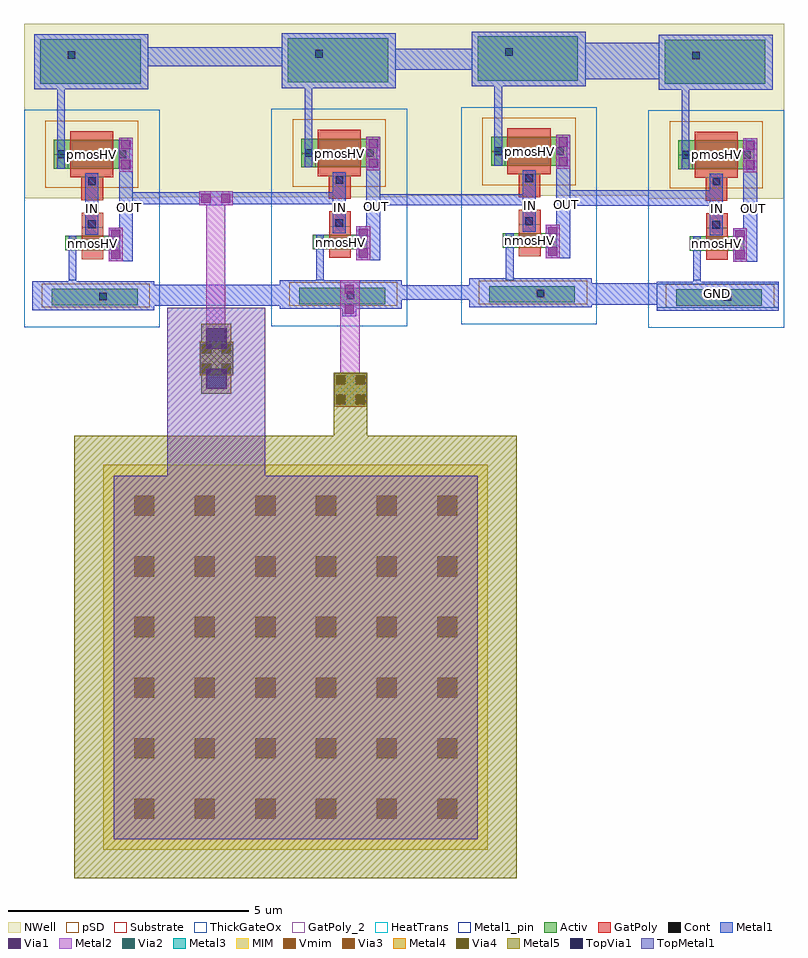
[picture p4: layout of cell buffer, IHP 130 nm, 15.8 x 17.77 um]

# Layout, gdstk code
import gdstk
lib = gdstk.Library(unit=1e-6, precision=1e-09)
def R(c, l, rs):  # rectangles x0, y0, x1, y1
    for r in rs: c.add(gdstk.rectangle(r[:2], r[2:], *l))
def A(c, l, x, y, w, h, nx, ny, dx, dy):  # array of equal rectangles
    R(c, l, [(x+i*dx, y+j*dy, x+i*dx+w, y+j*dy+h) for i in range(nx) for j in range(ny)])
def P(c, l, *ps):  # polygons
    for p in ps: c.add(gdstk.Polygon(p, *l))
Activ = (1, 0)
GatPoly = (5, 0)
GatPoly_2 = (5, 2)
Cont = (6, 0)
Metal1 = (8, 0)
Metal1_pin = (8, 2)
Metal2 = (10, 0)
pSD = (14, 0)
Via1 = (19, 0)
Via2 = (29, 0)
Metal3 = (30, 0)
NWell = (31, 0)
MIM = (36, 0)
Substrate = (40, 0)
ThickGateOx = (44, 0)
Via3 = (49, 0)
Metal4 = (50, 0)
HeatTrans = (51, 0)
Via4 = (66, 0)
Metal5 = (67, 0)
TopVia1 = (125, 0)
TopMetal1 = (126, 0)
Vmim = (129, 0)

buffer = lib.new_cell('buffer')
R(buffer, Activ, [(255.73,415.32,257.51,415.66), (242.75,415.33,244.53,415.67), (247.895,415.355,249.675,415.695), (251.84,415.39,253.62,415.73), (256.01,416.46,256.31,416.76), (256.01,416.46,257.14,416.76), (256.84,416.46,257.14,416.76), (243.03,416.47,243.33,416.77), (243.03,416.47,244.16,416.77), (243.86,416.47,244.16,416.77), (248.175,416.495,248.475,416.795), (248.175,416.495,249.305,416.795), (249.005,416.495,249.305,416.795), (252.12,416.53,252.42,416.83), (252.12,416.53,253.25,416.83), (252.95,416.53,253.25,416.83), (255.77,418.16,256.07,418.46), (255.77,418.16,257.35,418.76), (257.05,418.16,257.35,418.46), (242.79,418.17,243.09,418.47), (242.79,418.17,244.37,418.77), (244.07,418.17,244.37,418.47), (247.935,418.195,248.235,418.495), (247.935,418.195,249.515,418.795), (249.215,418.195,249.515,418.495), (251.88,418.23,252.18,418.53), (251.88,418.23,253.46,418.83), (253.16,418.23,253.46,418.53), (255.49,419.93,257.575,420.85), (242.51,419.94,244.595,420.86), (247.655,419.965,249.74,420.885), (251.6,420,253.685,420.92)])
R(buffer, GatPoly, [(256.35,416.28,256.8,416.94), (243.37,416.29,243.82,416.95), (248.515,416.315,248.965,416.975), (252.46,416.35,252.91,417.01), (256.35,416.94,256.8,417.245), (243.37,416.95,243.82,417.255), (248.515,416.975,248.965,417.28), (252.46,417.01,252.91,417.315), (256.345,417.505,256.795,418.035), (243.365,417.515,243.815,418.045), (248.51,417.54,248.96,418.07), (252.455,417.575,252.905,418.105), (256.395,417.665,256.755,417.98), (243.415,417.675,243.775,417.99), (248.56,417.7,248.92,418.015), (252.505,417.735,252.865,418.05), (256.11,417.98,257.01,418.94), (243.13,417.99,244.03,418.95), (248.275,418.015,249.175,418.975), (252.22,418.05,253.12,419.01)])
R(buffer, GatPoly_2, [(256.35,416.28,256.8,416.94), (243.37,416.29,243.82,416.95), (248.515,416.315,248.965,416.975), (252.46,416.35,252.91,417.01), (256.11,417.98,257.01,418.94), (243.13,417.99,244.03,418.95), (248.275,418.015,249.175,418.975), (252.22,418.05,253.12,419.01)])
R(buffer, Cont, [(256.715,415.425,256.875,415.585), (243.735,415.435,243.895,415.595), (248.88,415.46,249.04,415.62), (252.825,415.495,252.985,415.655), (256.08,416.53,256.24,416.69), (256.91,416.53,257.07,416.69), (243.1,416.54,243.26,416.7), (243.93,416.54,244.09,416.7), (248.245,416.565,248.405,416.725), (249.075,416.565,249.235,416.725), (252.19,416.6,252.35,416.76), (253.02,416.6,253.18,416.76), (256.48,416.925,256.64,417.085), (243.5,416.935,243.66,417.095), (248.645,416.96,248.805,417.12), (252.59,416.995,252.75,417.155), (256.485,417.82,256.645,417.98), (243.505,417.83,243.665,417.99), (248.65,417.855,248.81,418.015), (252.595,417.89,252.755,418.05), (255.84,418.38,256,418.54), (257.12,418.38,257.28,418.54), (242.86,418.39,243.02,418.55), (244.14,418.39,244.3,418.55), (248.005,418.415,248.165,418.575), (249.285,418.415,249.445,418.575), (251.95,418.45,252.11,418.61), (253.23,418.45,253.39,418.61), (256.06,420.445,256.22,420.605), (243.08,420.455,243.24,420.615), (248.225,420.48,248.385,420.64), (252.17,420.515,252.33,420.675)])
R(buffer, Metal1, [(248.785,415.105,249.075,415.805), (256.91,416.235,257.2,416.935), (243.93,416.245,244.22,416.945), (249.075,416.27,249.365,416.97), (253.02,416.305,253.31,417.005), (256.08,416.46,256.24,416.76), (256.91,416.46,257.07,416.76), (243.1,416.47,243.26,416.77), (243.93,416.47,244.09,416.77), (248.245,416.495,248.405,416.795), (249.075,416.495,249.235,416.795), (252.19,416.53,252.35,416.83), (253.02,416.53,253.18,416.83), (243.445,416.8,243.715,418.075), (245.81,417.41,246.51,417.7), (257.125,418.1,257.415,418.8), (244.145,418.11,244.435,418.81), (249.29,418.135,249.58,418.835), (255.84,418.16,256,418.76), (257.12,418.16,257.28,418.76), (242.86,418.17,243.02,418.77), (244.14,418.17,244.3,418.77), (253.235,418.17,253.525,418.87), (248.005,418.195,248.165,418.795), (249.285,418.195,249.445,418.795), (251.95,418.23,252.11,418.83), (253.23,418.23,253.39,418.83)])
P(buffer, Metal1, [(242.34,415.23),(242.34,415.83),(243.1,415.83),(243.1,416.77),(243.26,416.77),(243.26,415.83),(244.88,415.83),(244.88,415.76),(247.485,415.76),(247.485,415.855),(248.245,415.855),(248.245,416.795),(248.405,416.795),(248.405,415.855),(250.025,415.855),(250.025,415.75),(251.43,415.75),(251.43,415.89),(252.19,415.89),(252.19,416.83),(252.35,416.83),(252.35,415.89),(253.97,415.89),(253.97,415.785),(255.32,415.785),(255.32,415.34),(253.97,415.34),(253.97,415.29),(251.43,415.29),(251.43,415.445),(250.025,415.445),(250.025,415.255),(247.485,415.255),(247.485,415.315),(244.88,415.315),(244.88,415.23)],
  [(255.84,418.16),(255.84,419.81),(255.365,419.81),(255.365,420.025),(253.845,420.025),(253.845,419.88),(252.11,419.88),(252.11,418.23),(251.95,418.23),(251.95,419.88),(251.475,419.88),(251.475,420.23),(249.9,420.23),(249.9,419.845),(248.165,419.845),(248.165,418.195),(248.005,418.195),(248.005,419.845),(247.53,419.845),(247.53,420.3),(244.755,420.3),(244.755,419.82),(243.02,419.82),(243.02,418.17),(242.86,418.17),(242.86,419.82),(242.385,419.82),(242.385,420.96),(244.755,420.96),(244.755,420.695),(247.53,420.695),(247.53,420.985),(249.9,420.985),(249.9,420.66),(251.475,420.66),(251.475,421.02),(253.845,421.02),(253.845,420.785),(255.365,420.785),(255.365,420.95),(257.735,420.95),(257.735,419.81),(256,419.81),(256,418.16)],
  [(244.21,416.245),(244.21,416.925),(244.145,416.925),(244.145,418.11),(244.435,418.11),(244.435,417.675),(248.59,417.675),(248.59,418.1),(248.86,418.1),(248.86,416.825),(248.59,416.825),(248.59,417.435),(244.435,417.435),(244.435,416.245)],
  [(257.19,416.235),(257.19,416.915),(257.125,416.915),(257.125,418.1),(257.415,418.1),(257.415,416.235)],
  [(253.3,416.305),(253.3,416.985),(253.235,416.985),(253.235,418.17),(253.525,418.17),(253.525,417.725),(256.425,417.725),(256.425,418.065),(256.695,418.065),(256.695,416.79),(256.425,416.79),(256.425,417.395),(253.525,417.395),(253.525,416.305)],
  [(249.355,416.27),(249.355,416.95),(249.29,416.95),(249.29,418.135),(249.58,418.135),(249.58,417.635),(252.535,417.635),(252.535,418.135),(252.805,418.135),(252.805,416.86),(252.535,416.86),(252.535,417.41),(249.58,417.41),(249.58,416.27)],
  [(255.32,415.22),(255.32,415.82),(256.08,415.82),(256.08,416.76),(256.24,416.76),(256.24,415.82),(257.86,415.82),(257.86,415.22)])
R(buffer, Metal1_pin, [(255.32,415.275,257.86,415.78), (256.08,415.85,256.24,416.76), (243.1,415.855,243.26,416.77), (248.245,415.855,248.405,416.795), (252.19,415.855,252.35,416.83), (256.08,416.46,256.24,416.76), (256.91,416.46,257.07,416.76), (243.1,416.47,243.26,416.77), (243.93,416.47,244.09,416.77), (248.245,416.495,248.405,416.795), (249.075,416.495,249.235,416.795), (252.19,416.53,252.35,416.83), (253.02,416.53,253.18,416.83), (256.425,416.79,256.695,418.065), (243.445,416.8,243.715,418.075), (248.59,416.825,248.86,418.1), (252.535,416.86,252.805,418.135), (255.84,418.16,256,418.76), (257.12,418.16,257.28,418.76), (242.86,418.17,243.02,418.77), (244.14,418.17,244.3,418.77), (248.005,418.195,248.165,418.795), (249.285,418.195,249.445,418.795), (251.95,418.23,252.11,418.83), (253.23,418.23,253.39,418.83)])
P(buffer, Metal1_pin, [(248.005,418.195),(248.005,419.845),(247.53,419.845),(247.53,420.985),(249.9,420.985),(249.9,419.845),(248.165,419.845),(248.165,418.195)],
  [(249.075,416.27),(249.075,416.97),(249.29,416.97),(249.29,418.835),(249.58,418.835),(249.58,416.27)],
  [(242.86,418.17),(242.86,419.82),(242.385,419.82),(242.385,420.96),(244.755,420.96),(244.755,419.82),(243.02,419.82),(243.02,418.17)],
  [(243.93,416.245),(243.93,416.945),(244.145,416.945),(244.145,418.81),(244.435,418.81),(244.435,416.245)],
  [(256.91,416.235),(256.91,416.935),(257.125,416.935),(257.125,418.8),(257.415,418.8),(257.415,416.235)],
  [(255.84,418.16),(255.84,419.81),(255.365,419.81),(255.365,420.95),(257.735,420.95),(257.735,419.81),(256,419.81),(256,418.16)],
  [(253.02,416.305),(253.02,417.005),(253.235,417.005),(253.235,418.87),(253.525,418.87),(253.525,416.305)],
  [(251.95,418.23),(251.95,419.88),(251.475,419.88),(251.475,421.02),(253.845,421.02),(253.845,419.88),(252.11,419.88),(252.11,418.23)])
R(buffer, Metal2, [(248.61,413.225,249.31,413.925), (248.745,413.45,249.145,415.855), (245.82,413.87,246.52,414.57), (245.955,414.095,246.355,417.675), (248.785,415.105,249.075,415.805), (256.91,416.235,257.2,416.935), (243.93,416.245,244.22,416.945), (249.075,416.27,249.365,416.97), (253.02,416.305,253.31,417.005), (245.81,417.41,246.51,417.7), (257.125,418.1,257.415,418.8), (244.145,418.11,244.435,418.81), (249.29,418.135,249.58,418.835), (253.235,418.17,253.525,418.87)])
R(buffer, pSD, [(255.515,415.28,257.765,415.77), (242.535,415.29,244.785,415.78), (247.68,415.315,249.93,415.805), (251.625,415.35,253.875,415.84), (255.59,417.76,257.53,419.16), (242.61,417.77,244.55,419.17), (247.755,417.795,249.695,419.195), (251.7,417.83,253.64,419.23)])
R(buffer, Via1, [(248.835,415.155,249.025,415.345), (248.835,415.565,249.025,415.755), (256.96,416.285,257.15,416.475), (243.98,416.295,244.17,416.485), (249.125,416.32,249.315,416.51), (253.07,416.355,253.26,416.545), (256.96,416.695,257.15,416.885), (243.98,416.705,244.17,416.895), (249.125,416.73,249.315,416.92), (253.07,416.765,253.26,416.955), (245.86,417.46,246.05,417.65), (246.27,417.46,246.46,417.65), (257.175,418.15,257.365,418.34), (244.195,418.16,244.385,418.35), (249.34,418.185,249.53,418.375), (253.285,418.22,253.475,418.41), (257.175,418.56,257.365,418.75), (244.195,418.57,244.385,418.76), (249.34,418.595,249.53,418.785), (253.285,418.63,253.475,418.82)])
R(buffer, Via2, [(248.66,413.275,248.85,413.465), (249.07,413.275,249.26,413.465), (248.66,413.685,248.85,413.875), (249.07,413.685,249.26,413.875), (245.87,413.92,246.06,414.11), (246.28,413.92,246.47,414.11), (245.87,414.33,246.06,414.52), (246.28,414.33,246.47,414.52)])
R(buffer, Metal3, [(248.61,413.225,249.31,413.925), (245.82,413.87,246.52,414.57)])
R(buffer, NWell, [(255.15,417.54,257.97,419.38), (242.17,417.55,244.99,419.39), (247.315,417.575,250.135,419.415), (251.26,417.61,254.08,419.45)])
P(buffer, NWell, [(244.99,417.575),(244.99,419.39),(242.17,419.39),(242.17,421.185),(257.97,421.185),(257.97,419.28),(255.265,419.28),(255.265,417.61),(254.08,417.61),(254.08,419.28),(251.26,419.28),(251.26,417.61),(250.135,417.61),(250.135,419.28),(247.315,419.28),(247.315,417.575)])
R(buffer, MIM, [(243.815,404.015,251.815,412.015)])
R(buffer, Substrate, [(255.77,418.16,256.07,418.46), (242.79,418.17,243.09,418.47), (247.935,418.195,248.235,418.495), (251.88,418.23,252.18,418.53)])
R(buffer, ThickGateOx, [(255.15,414.86,257.97,417.54), (242.17,414.87,244.99,417.55), (247.315,414.895,250.135,417.575), (251.26,414.93,254.08,417.61), (255.74,415.94,257.41,417.28), (242.76,415.95,244.43,417.29), (247.905,415.975,249.575,417.315), (251.85,416.01,253.52,417.35), (255.15,417.54,257.97,419.38), (242.17,417.55,244.99,419.39), (247.315,417.575,250.135,419.415), (251.26,417.61,254.08,419.45)])
R(buffer, Via3, [(248.66,413.275,248.85,413.465), (249.07,413.275,249.26,413.465), (248.66,413.685,248.85,413.875), (249.07,413.685,249.26,413.875), (245.87,413.92,246.06,414.11), (246.28,413.92,246.47,414.11), (245.87,414.33,246.06,414.52), (246.28,414.33,246.47,414.52)])
R(buffer, Metal4, [(248.61,413.225,249.31,413.925), (245.82,413.87,246.52,414.57)])
R(buffer, HeatTrans, [(256.35,416.28,256.8,416.94), (243.37,416.29,243.82,416.95), (248.515,416.315,248.965,416.975), (252.46,416.35,252.91,417.01), (256.11,417.98,257.01,418.94), (243.13,417.99,244.03,418.95), (248.275,418.015,249.175,418.975), (252.22,418.05,253.12,419.01)])
R(buffer, Via4, [(248.66,413.275,248.85,413.465), (249.07,413.275,249.26,413.465), (248.66,413.685,248.85,413.875), (249.07,413.685,249.26,413.875), (245.87,413.92,246.06,414.11), (246.28,413.92,246.47,414.11), (245.87,414.33,246.06,414.52), (246.28,414.33,246.47,414.52)])
R(buffer, Metal5, [(243.215,403.415,252.415,412.615), (248.61,411.225,249.31,413.225), (248.61,413.225,249.31,413.925), (245.86,413.49,246.48,414.95), (245.82,413.87,246.52,414.57)])
R(buffer, TopVia1, [(245.96,413.59,246.38,414.01), (245.96,414.43,246.38,414.85)])
R(buffer, TopMetal1, [(244.04,404.23,251.6,411.79), (245.15,410.455,247.185,415.275), (245.54,413.17,246.8,415.27)])
A(buffer, Vmim, 244.46, 404.65, 0.42, 0.42, 6, 6, 1.26, 1.26)
buffer.add(gdstk.Label('pmosHV', (248.725,418.495), layer=63, texttype=0))
buffer.add(gdstk.Label('nmosHV', (248.74,416.645), layer=63, texttype=0))
buffer.add(gdstk.Label('pmosHV', (243.58,418.47), layer=63, texttype=0))
buffer.add(gdstk.Label('nmosHV', (243.595,416.62), layer=63, texttype=0))
buffer.add(gdstk.Label('nmosHV', (256.575,416.61), layer=63, texttype=0))
buffer.add(gdstk.Label('pmosHV', (256.56,418.46), layer=63, texttype=0))
buffer.add(gdstk.Label('nmosHV', (252.685,416.68), layer=63, texttype=0))
buffer.add(gdstk.Label('pmosHV', (252.67,418.53), layer=63, texttype=0))
buffer.add(gdstk.Label('pmos', (248.725,418.495), layer=51, texttype=0))
buffer.add(gdstk.Label('nmosHV', (248.74,416.645), layer=51, texttype=0))
buffer.add(gdstk.Label('pmos', (243.58,418.47), layer=51, texttype=0))
buffer.add(gdstk.Label('nmosHV', (243.595,416.62), layer=51, texttype=0))
buffer.add(gdstk.Label('nmosHV', (256.575,416.61), layer=51, texttype=0))
buffer.add(gdstk.Label('pmos', (256.56,418.46), layer=51, texttype=0))
buffer.add(gdstk.Label('nmosHV', (252.685,416.68), layer=51, texttype=0))
buffer.add(gdstk.Label('pmos', (252.67,418.53), layer=51, texttype=0))
buffer.add(gdstk.Label('GND', (256.595,415.58), layer=8, texttype=25))
buffer.add(gdstk.Label('IN', (248.745,417.37), layer=8, texttype=25))
buffer.add(gdstk.Label('OUT', (249.505,417.385), layer=8, texttype=25))
buffer.add(gdstk.Label('IN', (243.6,417.345), layer=8, texttype=25))
buffer.add(gdstk.Label('OUT', (244.36,417.36), layer=8, texttype=25))
buffer.add(gdstk.Label('OUT', (257.34,417.35), layer=8, texttype=25))
buffer.add(gdstk.Label('IN', (256.58,417.335), layer=8, texttype=25))
buffer.add(gdstk.Label('OUT', (253.45,417.42), layer=8, texttype=25))
buffer.add(gdstk.Label('IN', (252.69,417.405), layer=8, texttype=25))

lib.write_gds('buffer.gds')
